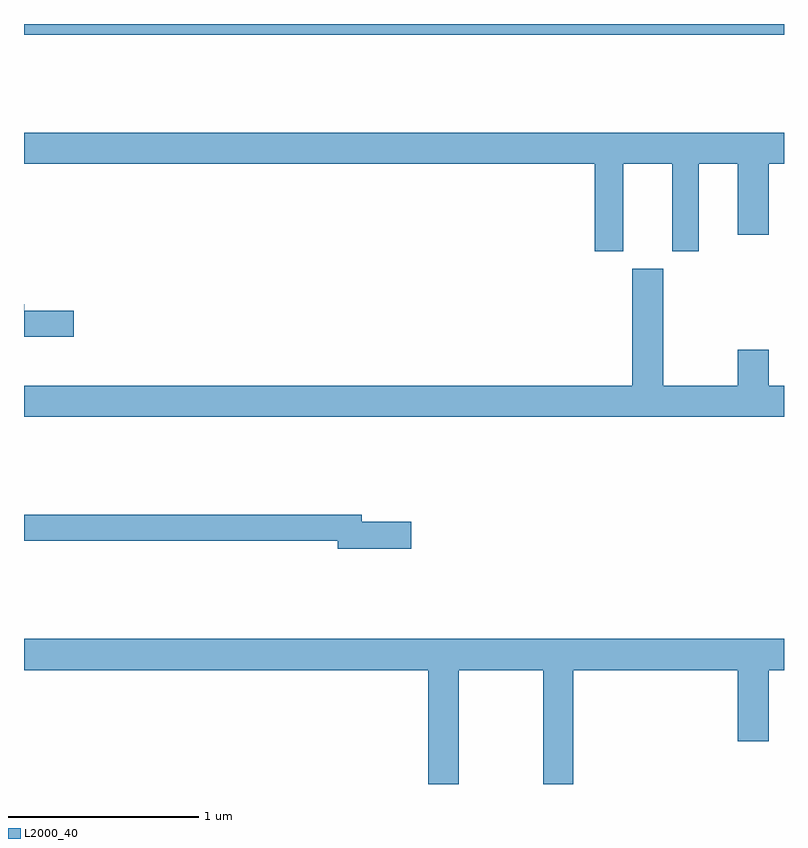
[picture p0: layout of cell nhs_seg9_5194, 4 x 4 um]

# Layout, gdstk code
import gdstk
lib = gdstk.Library(unit=1e-6, precision=1e-09)
def R(c, l, rs):  # rectangles x0, y0, x1, y1
    for r in rs: c.add(gdstk.rectangle(r[:2], r[2:], *l))
def P(c, l, *ps):  # polygons
    for p in ps: c.add(gdstk.Polygon(p, *l))
L2000_40 = (2000, 40)

nhs_seg9_5194 = lib.new_cell('nhs_seg9_5194')
R(nhs_seg9_5194, L2000_40, [(413,1186.444,417,1186.5)])
P(nhs_seg9_5194, L2000_40, [(416.155,1185.764),(416.411,1185.764),(416.411,1185.303),(416.551,1185.303),(416.551,1185.764),(416.756,1185.764),(416.756,1185.39),(416.92,1185.39),(416.92,1185.764),(417,1185.764),(417,1185.928),(413,1185.928),(413,1185.764),(416.003,1185.764),(416.003,1185.303),(416.155,1185.303)],
  [(417,1184.596),(416.92,1184.596),(416.92,1184.785),(416.756,1184.785),(416.756,1184.596),(416.365,1184.596),(416.365,1185.211),(416.201,1185.211),(416.201,1184.596),(413,1184.596),(413,1184.432),(417,1184.432)],
  [(413.263,1184.99),(413.002,1184.99),(413.002,1185.026),(413,1185.026),(413,1184.855),(413.263,1184.855)],
  [(415.039,1183.88),(414.778,1183.88),(414.778,1183.916),(413,1183.916),(413,1183.78),(414.65,1183.78),(414.65,1183.738),(415.039,1183.738)],
  [(415.287,1183.1),(415.732,1183.1),(415.732,1182.5),(415.892,1182.5),(415.892,1183.1),(416.756,1183.1),(416.756,1182.726),(416.92,1182.726),(416.92,1183.1),(417,1183.1),(417,1183.264),(413,1183.264),(413,1183.1),(415.127,1183.1),(415.127,1182.5),(415.287,1182.5)])

lib.write_gds('nhs_seg9_5194.gds')
